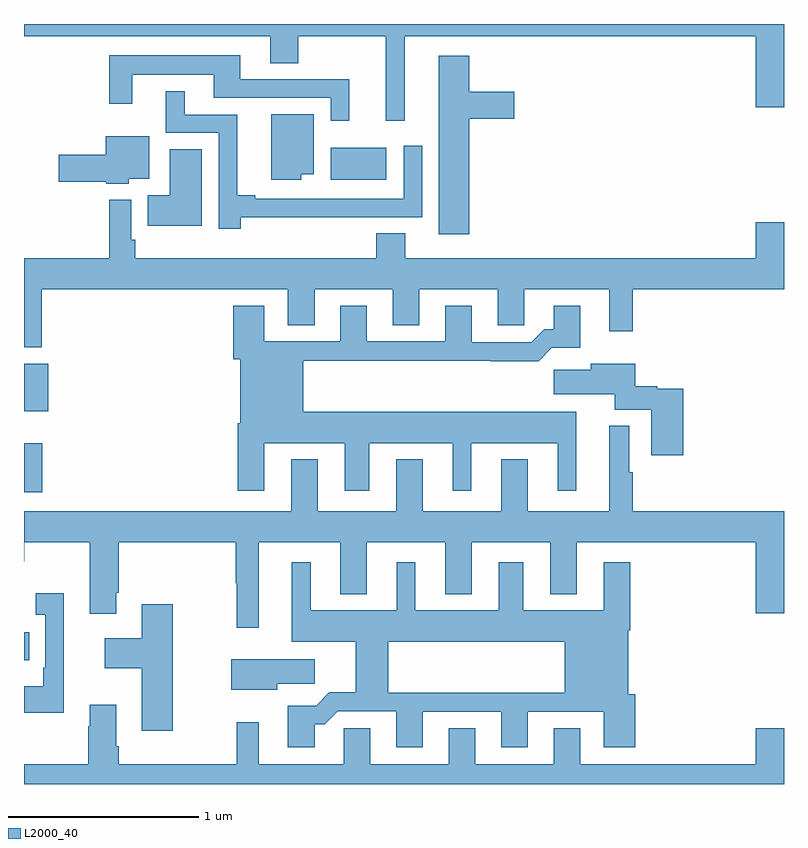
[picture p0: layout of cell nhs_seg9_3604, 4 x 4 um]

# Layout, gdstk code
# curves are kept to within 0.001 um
import gdstk
lib = gdstk.Library(unit=1e-6, precision=1e-09)
def R(c, l, rs):  # rectangles x0, y0, x1, y1
    for r in rs: c.add(gdstk.rectangle(r[:2], r[2:], *l))
def P(c, l, *ps):  # polygons
    for p in ps: c.add(gdstk.Polygon(p, *l))
L2000_40 = (2000, 40)

nhs_seg9_3604 = lib.new_cell('nhs_seg9_3604')
R(nhs_seg9_3604, L2000_40, [(317,1177.151,317.027,1177.299), (317,1178.036,317.095,1178.293), (317,1178.462,317.128,1178.713), (318.614,1179.68,318.907,1179.85)])
P(nhs_seg9_3604, L2000_40, [(319.004,1180.436),(320.852,1180.436),(320.852,1180.062),(321,1180.062),(321,1180.5),(317,1180.5),(317,1180.436),(318.296,1180.436),(318.296,1180.294),(318.444,1180.294),(318.444,1180.436),(318.905,1180.436),(318.905,1179.99),(319.004,1179.99)],
  [(318.713,1180.209),(318.139,1180.209),(318.139,1180.336),(317.448,1180.336),(317.448,1180.08),(317.569,1180.08),(317.569,1180.232),(317.999,1180.232),(317.999,1180.113),(318.615,1180.113),(318.615,1179.99),(318.713,1179.99)],
  [(319.343,1180.001),(319.579,1180.001),(319.579,1180.143),(319.343,1180.143),(319.343,1180.333),(319.184,1180.333),(319.184,1179.393),(319.343,1179.393)],
  [(318.14,1179.482),(318.77,1179.482),(318.77,1179.483),(319.095,1179.483),(319.095,1179.859),(318.999,1179.859),(318.999,1179.579),(318.217,1179.579),(318.217,1179.599),(318.122,1179.599),(318.122,1180.023),(317.845,1180.023),(317.845,1180.147),(317.747,1180.147),(317.747,1179.927),(318.024,1179.927),(318.024,1179.423),(318.14,1179.423)],
  [(318.46,1179.71),(318.526,1179.71),(318.526,1180.024),(318.302,1180.024),(318.302,1179.68),(318.46,1179.68)],
  [(317.55,1179.686),(317.659,1179.686),(317.659,1179.91),(317.429,1179.91),(317.429,1179.812),(317.184,1179.812),(317.184,1179.67),(317.433,1179.67),(317.433,1179.659),(317.55,1179.659)],
  [(317.935,1179.842),(317.768,1179.842),(317.768,1179.598),(317.65,1179.598),(317.65,1179.437),(317.935,1179.437)],
  [(317.093,1179.104),(318.389,1179.104),(318.389,1178.914),(318.529,1178.914),(318.529,1179.104),(318.941,1179.104),(318.941,1178.914),(319.081,1178.914),(319.081,1179.104),(319.493,1179.104),(319.493,1178.914),(319.632,1178.914),(319.632,1179.104),(320.081,1179.104),(320.081,1178.883),(320.203,1178.883),(320.203,1179.104),(321,1179.104),(321,1179.457),(320.852,1179.457),(320.852,1179.268),(319.006,1179.268),(319.006,1179.398),(318.854,1179.398),(318.854,1179.268),(317.585,1179.268),(317.585,1179.364),(317.565,1179.364),(317.565,1179.574),(317.449,1179.574),(317.449,1179.268),(317,1179.268),(317,1178.798),(317.093,1178.798)],
  [(318.265,1178.294),(318.689,1178.294),(318.689,1178.043),(318.817,1178.043),(318.817,1178.294),(319.256,1178.294),(319.256,1178.043),(319.354,1178.043),(319.354,1178.294),(319.808,1178.294),(319.808,1178.043),(319.906,1178.043),(319.906,1178.458),(318.469,1178.458),(318.469,1178.728),(319.453,1178.728),(319.453,1178.726),(319.709,1178.726),(319.778,1178.795),(319.927,1178.795),(319.927,1179.016),(319.787,1179.016),(319.787,1178.893),(319.738,1178.893),(319.671,1178.826),(319.357,1178.826),(319.357,1179.016),(319.217,1179.016),(319.217,1178.829),(318.805,1178.829),(318.805,1179.016),(318.665,1179.016),(318.665,1178.829),(318.265,1178.829),(318.265,1179.016),(318.101,1179.016),(318.101,1178.736),(318.137,1178.736),(318.137,1178.398),(318.125,1178.398),(318.125,1178.043),(318.265,1178.043)],
  [(320.471,1178.581),(320.334,1178.581),(320.334,1178.594),(320.218,1178.594),(320.218,1178.713),(319.982,1178.713),(319.982,1178.681),(319.788,1178.681),(319.788,1178.552),(320.108,1178.552),(320.108,1178.471),(320.3,1178.471),(320.3,1178.229),(320.471,1178.229)],
  [(318.235,1177.772),(318.665,1177.772),(318.665,1177.499),(318.805,1177.499),(318.805,1177.772),(319.217,1177.772),(319.217,1177.499),(319.357,1177.499),(319.357,1177.772),(319.769,1177.772),(319.769,1177.499),(319.909,1177.499),(319.909,1177.772),(320.852,1177.772),(320.852,1177.398),(321,1177.398),(321,1177.936),(320.203,1177.936),(320.203,1178.141),(320.185,1178.141),(320.185,1178.386),(320.081,1178.386),(320.081,1177.936),(319.651,1177.936),(319.651,1178.209),(319.511,1178.209),(319.511,1177.936),(319.099,1177.936),(319.099,1178.209),(318.959,1178.209),(318.959,1177.936),(318.547,1177.936),(318.547,1178.209),(318.407,1178.209),(318.407,1177.936),(317,1177.936),(317,1177.673),(317.001,1177.673),(317.001,1177.772),(317.345,1177.772),(317.345,1177.395),(317.485,1177.395),(317.485,1177.507),(317.498,1177.507),(317.498,1177.772),(318.114,1177.772),(318.114,1177.556),(318.121,1177.556),(318.121,1177.323),(318.235,1177.323)],
  [(318.389,1176.913),(318.389,1176.693),(318.529,1176.693),(318.529,1176.815),(318.584,1176.815),(318.651,1176.882),(318.959,1176.882),(318.959,1176.693),(319.099,1176.693),(319.099,1176.879),(319.511,1176.879),(319.511,1176.693),(319.651,1176.693),(319.651,1176.879),(320.051,1176.879),(320.051,1176.693),(320.216,1176.693),(320.216,1176.972),(320.179,1176.972),(320.179,1177.31),(320.192,1177.31),(320.192,1177.666),(320.051,1177.666),(320.051,1177.414),(319.627,1177.414),(319.627,1177.666),(319.499,1177.666),(319.499,1177.414),(319.06,1177.414),(319.06,1177.666),(318.962,1177.666),(318.962,1177.414),(318.508,1177.414),(318.508,1177.666),(318.41,1177.666),(318.41,1177.25),(318.746,1177.25),(318.746,1176.983),(318.608,1176.983),(318.605,1176.98),(318.917,1176.98),(318.917,1177.25),(319.847,1177.25),(319.847,1176.98),(318.605,1176.98),(318.538,1176.913)],
  [(317.21,1177.504),(317.061,1177.504),(317.061,1177.391),(317.112,1177.391),(317.112,1177.111),(317.1,1177.111),(317.1,1177.015),(317,1177.015),(317,1176.875),(317.21,1176.875)],
  [(317.784,1177.447),(317.621,1177.447),(317.621,1177.267),(317.424,1177.267),(317.424,1177.109),(317.621,1177.109),(317.621,1176.78),(317.784,1176.78)],
  [(318.334,1177.027),(318.529,1177.027),(318.529,1177.156),(318.09,1177.156),(318.09,1176.995),(318.334,1176.995)],
  [(321,1176.793),(320.852,1176.793),(320.852,1176.604),(319.927,1176.604),(319.927,1176.794),(319.787,1176.794),(319.787,1176.604),(319.375,1176.604),(319.375,1176.794),(319.235,1176.794),(319.235,1176.604),(318.823,1176.604),(318.823,1176.794),(318.684,1176.794),(318.684,1176.604),(318.235,1176.604),(318.235,1176.826),(318.121,1176.826),(318.121,1176.604),(317.498,1176.604),(317.498,1176.7),(317.485,1176.7),(317.485,1176.916),(317.345,1176.916),(317.345,1176.803),(317.338,1176.803),(317.338,1176.604),(317,1176.604),(317,1176.5),(321,1176.5)])

lib.write_gds('nhs_seg9_3604.gds')
